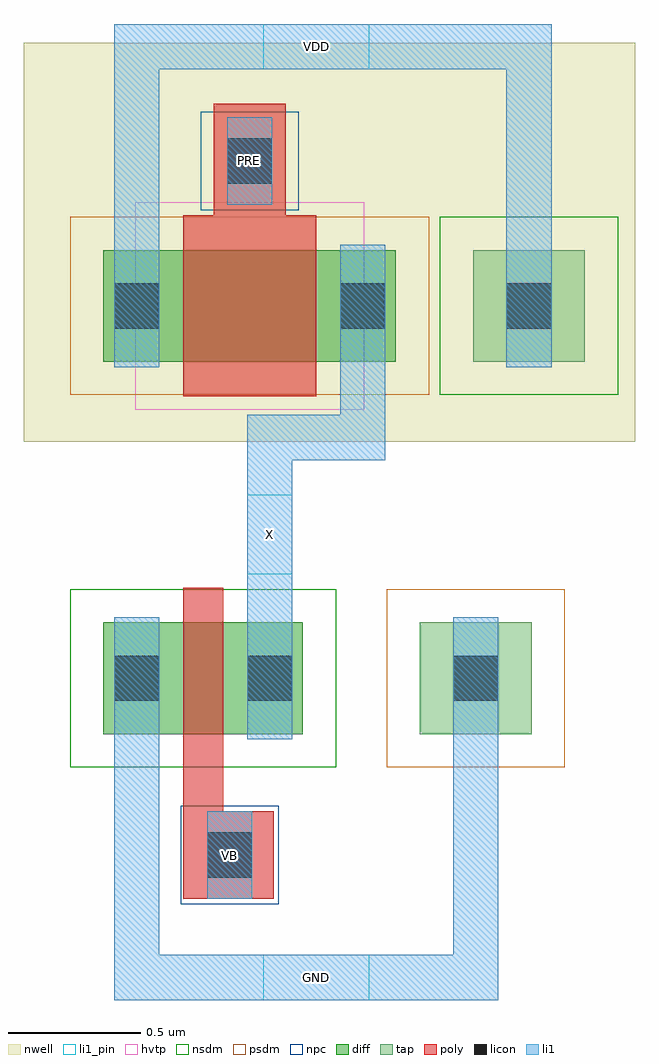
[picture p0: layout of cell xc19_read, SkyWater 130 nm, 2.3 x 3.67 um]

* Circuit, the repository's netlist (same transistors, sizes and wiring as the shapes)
* NGSPICE file created from xc19_read.ext - technology: sky130A

.subckt xc19_read VB PRE X VDD GND
X0 X VB GND GND sky130_fd_pr__nfet_01v8 ad=0.126 pd=1.44 as=0.126 ps=1.44 w=0.42 l=0.15
X1 X PRE VDD VDD sky130_fd_pr__pfet_01v8_hvt ad=0.126 pd=1.44 as=0.126 ps=1.44 w=0.42 l=0.5
.ends

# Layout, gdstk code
import gdstk
lib = gdstk.Library(unit=1e-6, precision=1e-09)
def R(c, l, rs):  # rectangles x0, y0, x1, y1
    for r in rs: c.add(gdstk.rectangle(r[:2], r[2:], *l))
nwell = (64, 20)
diff = (65, 20)
tap = (65, 44)
poly = (66, 20)
licon = (66, 44)
li1_pin = (67, 16)
li1 = (67, 20)
hvtp = (78, 44)
nsdm = (93, 44)
psdm = (94, 20)
npc = (95, 20)

xc19_read = lib.new_cell('xc19_read')
R(xc19_read, nwell, [(-0.3,1.1,2,2.6)])
R(xc19_read, diff, [(0,0,0.75,0.42), (0,1.4,1.1,1.82)])
R(xc19_read, tap, [(1.19,0,1.61,0.42), (1.39,1.4,1.81,1.82)])
R(xc19_read, poly, [(0.3,-0.62,0.64,-0.29), (0.3,-0.29,0.45,0.55), (0.3,1.27,0.8,1.95), (0.415,1.95,0.685,2.37)])
R(xc19_read, licon, [(0.39,-0.54,0.56,-0.37), (0.04,0.125,0.21,0.295), (0.54,0.125,0.71,0.295), (1.315,0.125,1.485,0.295), (0.04,1.525,0.21,1.695), (0.89,1.525,1.06,1.695), (1.515,1.525,1.685,1.695), (0.465,2.07,0.635,2.24)])
R(xc19_read, li1_pin, [(0.6,-1,1,-0.83), (0.39,-0.62,0.56,-0.29), (0.54,0.6,0.71,0.9), (0.465,1.99,0.635,2.32), (0.6,2.5,1,2.67)])
R(xc19_read, li1, [(0.04,-1,1.485,-0.83), (0.04,-0.83,0.21,0.44), (1.315,-0.83,1.485,0.44), (0.39,-0.62,0.56,-0.29), (0.54,-0.02,0.71,1.03), (0.54,1.03,1.06,1.2), (0.89,1.2,1.06,1.84), (0.04,1.38,0.21,2.5), (1.515,1.38,1.685,2.5), (0.465,1.99,0.635,2.32), (0.04,2.5,1.685,2.67)])
R(xc19_read, hvtp, [(0.12,1.22,0.98,2)])
R(xc19_read, nsdm, [(-0.125,-0.125,0.875,0.545), (1.265,1.275,1.935,1.945)])
R(xc19_read, psdm, [(1.065,-0.125,1.735,0.545), (-0.125,1.275,1.225,1.945)])
R(xc19_read, npc, [(0.29,-0.64,0.66,-0.27), (0.365,1.97,0.735,2.34)])
xc19_read.add(gdstk.Label('VB', (0.475,-0.455), layer=67, texttype=5))
xc19_read.add(gdstk.Label('PRE', (0.55,2.155), layer=67, texttype=5))
xc19_read.add(gdstk.Label('X', (0.625,0.75), layer=67, texttype=5))
xc19_read.add(gdstk.Label('VDD', (0.8,2.585), layer=67, texttype=5))
xc19_read.add(gdstk.Label('GND', (0.8,-0.915), layer=67, texttype=5))

lib.write_gds('xc19_read.gds')
